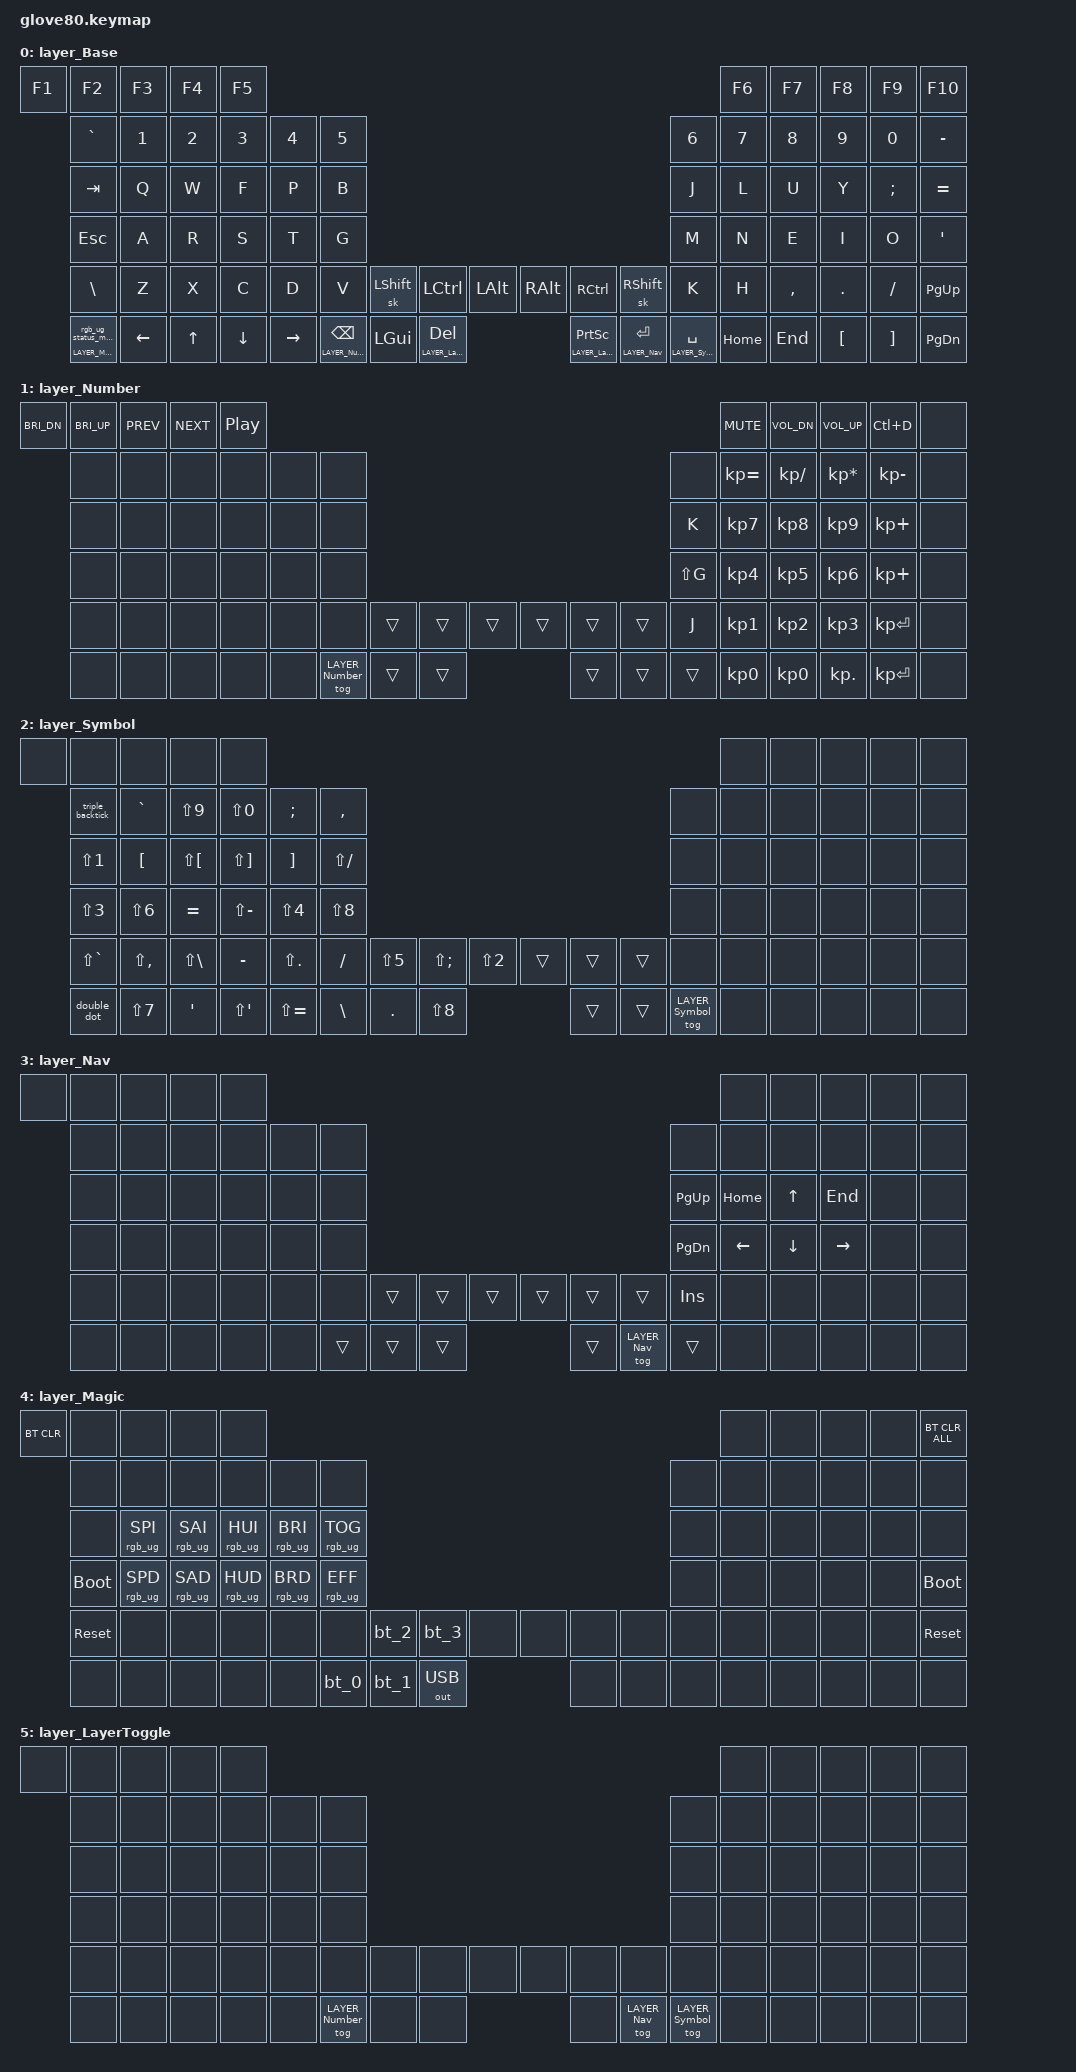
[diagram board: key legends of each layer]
/*
 * Copyright (c) 2020 The ZMK Contributors
 * Copyright (c) 2025 Innaworks Development Limited, trading as MoErgo
 *
 * SPDX-License-Identifier: MIT
 */


/* THIS FILE WAS GENERATED BY GLOVE80 LAYOUT EDITOR
 *
 * This file was generated automatically. You may or may not want to
 * edit it directly.
 */

#include <behaviors.dtsi>
/* Include all behavior includes needed */
#include <dt-bindings/zmk/outputs.h>
#include <dt-bindings/zmk/keys.h>
#include <dt-bindings/zmk/bt.h>
#include <dt-bindings/zmk/rgb.h>

/* On demand includes */


/* Helper Macros, based on https://github.com/urob/zmk-helpers/ */

#pragma once

#define ZMK_HELPER_STRINGIFY(x) #x

// Preprocessor mechanism to overload macros, cf. https://stackoverflow.com/a/27051616/6114651
#define VARGS_(_10, _9, _8, _7, _6, _5, _4, _3, _2, _1, N, ...) N
#define VARGS(...) VARGS_(__VA_ARGS__, 10, 9, 8, 7, 6, 5, 4, 3, 2, 1, 0)
#define CONCAT_(a, b) a##b
#define CONCAT(a, b) CONCAT_(a, b)

#define ZMK_BEHAVIOR_CORE_tap_dance  \
    compatible = "zmk,behavior-tap-dance"; \
    #binding-cells = <0>

#define ZMK_BEHAVIOR(name, type, ...) \
    name: name { \
        ZMK_BEHAVIOR_CORE_ ## type; \
        __VA_ARGS__ \
    };

#define ZMK_TAP_DANCE(name, ...) \
    ZMK_BEHAVIOR(name, tap_dance, __VA_ARGS__)

#define ZMK_TD_LAYER(name, layer) \
    ZMK_TAP_DANCE(name, \
        tapping-term-ms = <200>; \
        bindings = <&mo layer>, <&to layer>; \
)

/* Environment and metadata defines */
#define KB_TYPE_GLOVE_80 1
#define KB_TYPE_GO_60    2

#define KB_TYPE          KB_TYPE_GLOVE_80
#define EDITOR_HOST_OS   'L'

/* Automatically generated layer name defines */
#define LAYER_Base 0
#define LAYER_Number 1
#define LAYER_Symbol 2
#define LAYER_Nav 3
#define LAYER_Magic 4
#define LAYER_LayerToggle 5

/* To deal with the situation where there is no Lower layer, to keep &lower happy */
#ifndef LAYER_Lower
#define LAYER_Lower 0
#endif

/* Custom Device-tree */


/* Input Listeners */


/* System behavior and Macros */
/ {
    behaviors {
        ZMK_TD_LAYER(lower, LAYER_Lower)
    };
};

/ {
    macros {
        rgb_ug_status_macro: rgb_ug_status_macro {
            label = "RGB_UG_STATUS";
            compatible = "zmk,behavior-macro";
            #binding-cells = <0>;
            bindings
                = <&rgb_ug RGB_STATUS>;
        };
    };
};


/ {
#ifdef BT_DISC_CMD
    behaviors {
        bt_0: bt_0 {
            compatible = "zmk,behavior-tap-dance";
            label = "BT_0";
            #binding-cells = <0>;
            tapping-term-ms = <200>;
            bindings = <&bt_select_0>, <&bt BT_DISC 0>;
        };
        bt_1: bt_1 {
            compatible = "zmk,behavior-tap-dance";
            label = "BT_1";
            #binding-cells = <0>;
            tapping-term-ms = <200>;
            bindings = <&bt_select_1>, <&bt BT_DISC 1>;
        };
        bt_2: bt_2 {
            compatible = "zmk,behavior-tap-dance";
            label = "BT_2";
            #binding-cells = <0>;
            tapping-term-ms = <200>;
            bindings = <&bt_select_2>, <&bt BT_DISC 2>;
        };
        bt_3: bt_3 {
            compatible = "zmk,behavior-tap-dance";
            label = "BT_3";
            #binding-cells = <0>;
            tapping-term-ms = <200>;
            bindings = <&bt_select_3>, <&bt BT_DISC 3>;
        };
    };
    macros {
        bt_select_0: bt_select_0 {
            label = "BT_SELECT_0";
            compatible = "zmk,behavior-macro";
            #binding-cells = <0>;
            bindings
                = <&out OUT_BLE>,
                  <&bt BT_SEL 0>;
        };
        bt_select_1: bt_select_1 {
            label = "BT_SELECT_1";
            compatible = "zmk,behavior-macro";
            #binding-cells = <0>;
            bindings
                = <&out OUT_BLE>,
                  <&bt BT_SEL 1>;
        };
        bt_select_2: bt_select_2 {
            label = "BT_SELECT_2";
            compatible = "zmk,behavior-macro";
            #binding-cells = <0>;
            bindings
                = <&out OUT_BLE>,
                  <&bt BT_SEL 2>;
        };
        bt_select_3: bt_select_3 {
            label = "BT_SELECT_3";
            compatible = "zmk,behavior-macro";
            #binding-cells = <0>;
            bindings
                = <&out OUT_BLE>,
                  <&bt BT_SEL 3>;
        };
    };
#else
    macros {
        bt_0: bt_0 {
            label = "BT_0";
            compatible = "zmk,behavior-macro";
            #binding-cells = <0>;
            bindings
                = <&out OUT_BLE>,
                  <&bt BT_SEL 0>;
        };
        bt_1: bt_1 {
            label = "BT_1";
            compatible = "zmk,behavior-macro";
            #binding-cells = <0>;
            bindings
                = <&out OUT_BLE>,
                  <&bt BT_SEL 1>;
        };
        bt_2: bt_2 {
            label = "BT_2";
            compatible = "zmk,behavior-macro";
            #binding-cells = <0>;
            bindings
                = <&out OUT_BLE>,
                  <&bt BT_SEL 2>;
        };
        bt_3: bt_3 {
            label = "BT_3";
            compatible = "zmk,behavior-macro";
            #binding-cells = <0>;
            bindings
                = <&out OUT_BLE>,
                  <&bt BT_SEL 3>;
        };
    };
#endif
};

/ {
    behaviors {
        magic: magic {
            compatible = "zmk,behavior-hold-tap";
            label = "MAGIC_HOLD_TAP";
            #binding-cells = <2>;
            flavor = "tap-preferred";
            tapping-term-ms = <200>;
            bindings = <&mo>, <&rgb_ug_status_macro>;
        };
    };
};


/* Key positions */

#define POS_LH_C6R1 0
#define POS_LH_C5R1 1
#define POS_LH_C4R1 2
#define POS_LH_C3R1 3
#define POS_LH_C2R1 4
#define POS_RH_C2R1 5
#define POS_RH_C3R1 6
#define POS_RH_C4R1 7
#define POS_RH_C5R1 8
#define POS_RH_C6R1 9
#define POS_LH_C6R2 10
#define POS_LH_C5R2 11
#define POS_LH_C4R2 12
#define POS_LH_C3R2 13
#define POS_LH_C2R2 14
#define POS_LH_C1R2 15
#define POS_RH_C1R2 16
#define POS_RH_C2R2 17
#define POS_RH_C3R2 18
#define POS_RH_C4R2 19
#define POS_RH_C5R2 20
#define POS_RH_C6R2 21
#define POS_LH_C6R3 22
#define POS_LH_C5R3 23
#define POS_LH_C4R3 24
#define POS_LH_C3R3 25
#define POS_LH_C2R3 26
#define POS_LH_C1R3 27
#define POS_RH_C1R3 28
#define POS_RH_C2R3 29
#define POS_RH_C3R3 30
#define POS_RH_C4R3 31
#define POS_RH_C5R3 32
#define POS_RH_C6R3 33
#define POS_LH_C6R4 34
#define POS_LH_C5R4 35
#define POS_LH_C4R4 36
#define POS_LH_C3R4 37
#define POS_LH_C2R4 38
#define POS_LH_C1R4 39
#define POS_RH_C1R4 40
#define POS_RH_C2R4 41
#define POS_RH_C3R4 42
#define POS_RH_C4R4 43
#define POS_RH_C5R4 44
#define POS_RH_C6R4 45
#define POS_LH_C6R5 46
#define POS_LH_C5R5 47
#define POS_LH_C4R5 48
#define POS_LH_C3R5 49
#define POS_LH_C2R5 50
#define POS_LH_C1R5 51
#define POS_LH_T1 52
#define POS_LH_T2 53
#define POS_LH_T3 54
#define POS_RH_T3 55
#define POS_RH_T2 56
#define POS_RH_T1 57
#define POS_RH_C1R5 58
#define POS_RH_C2R5 59
#define POS_RH_C3R5 60
#define POS_RH_C4R5 61
#define POS_RH_C5R5 62
#define POS_RH_C6R5 63
#define POS_LH_C6R6 64
#define POS_LH_C5R6 65
#define POS_LH_C4R6 66
#define POS_LH_C3R6 67
#define POS_LH_C2R6 68
#define POS_LH_T4 69
#define POS_LH_T5 70
#define POS_LH_T6 71
#define POS_RH_T6 72
#define POS_RH_T5 73
#define POS_RH_T4 74
#define POS_RH_C2R6 75
#define POS_RH_C3R6 76
#define POS_RH_C4R6 77
#define POS_RH_C5R6 78
#define POS_RH_C6R6 79


/* Custom Defined Behaviors */
/ {

};

/* Generated input processors */


/* Automatically generated macro definitions */
/ {
    macros {

        triple_backtick: triple_backtick {
            label = "&TRIPLE_BACKTICK";
            compatible = "zmk,behavior-macro";
            #binding-cells = <0>;
            tap-ms = <0>;
            wait-ms = <0>;
            bindings = <&macro_tap>
                , <&kp GRAVE>
                , <&kp GRAVE>
                , <&kp GRAVE>;
        };

        double_dot: double_dot {
            label = "&DOUBLE_DOT";
            compatible = "zmk,behavior-macro";
            #binding-cells = <0>;
            tap-ms = <0>;
            wait-ms = <0>;
            bindings = <&macro_tap>
                , <&kp DOT>
                , <&kp DOT>;
        };
    };
};

/* Automatically generated behavior definitions */
/ {
    behaviors {


    };
};

/* Automatically generated combos definitions */
/ {
    combos {
        compatible = "zmk,combos";

        // F11
        combo_combo_f11 {
            timeout-ms = <50>;
            key-positions = <POS_RH_C5R1 POS_RH_C5R2>;
            bindings = <&kp F11>;
            layers = <LAYER_Base>;
        };

        // F12
        combo_combo_f12 {
            timeout-ms = <50>;
            key-positions = <POS_RH_C6R1 POS_RH_C6R2>;
            bindings = <&kp F12>;
            layers = <LAYER_Base>;
        };

        // Capsword
        combo_combo_capsword {
            timeout-ms = <50>;
            key-positions = <POS_LH_T1 POS_RH_T1>;
            bindings = <&caps_word>;
            layers = <LAYER_Base>;
        };

        // Kill word backward
        combo_combo_killwordbackward {
            timeout-ms = <50>;
            key-positions = <POS_LH_T4 POS_LH_T1>;
            bindings = <&kp LC(BSPC)>;
            layers = <LAYER_Base>;
        };
    };
};

/* Automatically generated keymap */
/ {
    keymap {
        compatible = "zmk,keymap";


        layer_Base {
            bindings = <
               &kp F1    &kp F2  &kp F3    &kp F4     &kp F5                                                                                                                                                         &kp F6     &kp F7    &kp F8    &kp F9    &kp F10
            &kp GRAVE    &kp N1  &kp N2    &kp N3     &kp N4  &kp N5                                                                                                                                       &kp N6    &kp N7     &kp N8    &kp N9    &kp N0  &kp MINUS
              &kp TAB     &kp Q   &kp W     &kp F      &kp P   &kp B                                                                                                                                        &kp J     &kp L      &kp U     &kp Y  &kp SEMI  &kp EQUAL
              &kp ESC     &kp A   &kp R     &kp S      &kp T   &kp G                                                                                                                                        &kp M     &kp N      &kp E     &kp I     &kp O    &kp SQT
             &kp BSLH     &kp Z   &kp X     &kp C      &kp D   &kp V              &sk LSHFT  &kp LCTRL                   &kp LALT                     &kp RALT          &kp RCTRL               &sk RSHFT   &kp K     &kp H  &kp COMMA   &kp DOT  &kp FSLH  &kp PG_UP
 &magic LAYER_Magic 0  &kp LEFT  &kp UP  &kp DOWN  &kp RIGHT          &lt LAYER_Number BSPC   &kp LGUI  &lt LAYER_LayerToggle DEL  &lt LAYER_LayerToggle PSCRN  &lt LAYER_Nav RET  &lt LAYER_Symbol SPACE          &kp HOME    &kp END  &kp LBKT  &kp RBKT  &kp PG_DN
            >;
        };

        layer_Number {
            bindings = <
 &kp C_BRI_DN  &kp C_BRI_UP  &kp C_PREV  &kp C_NEXT  &kp C_PP                                                                                  &kp C_MUTE  &kp C_VOL_DN     &kp C_VOL_UP     &kp LC(D)   &none
        &none         &none       &none       &none     &none   &none                                                                 &none  &kp KP_EQUAL  &kp KP_SLASH  &kp KP_MULTIPLY  &kp KP_MINUS   &none
        &none         &none       &none       &none     &none   &none                                                                 &kp K     &kp KP_N7     &kp KP_N8        &kp KP_N9   &kp KP_PLUS   &none
        &none         &none       &none       &none     &none   &none                                                             &kp LS(G)     &kp KP_N4     &kp KP_N5        &kp KP_N6   &kp KP_PLUS   &none
        &none         &none       &none       &none     &none   &none             &trans  &trans  &trans  &trans  &trans  &trans      &kp J     &kp KP_N1     &kp KP_N2        &kp KP_N3  &kp KP_ENTER   &none
        &none         &none       &none       &none     &none          &tog LAYER_Number  &trans  &trans  &trans  &trans  &trans                &kp KP_N0     &kp KP_N0       &kp KP_DOT  &kp KP_ENTER   &none
            >;
        };

        layer_Symbol {
            bindings = <
            &none          &none         &none          &none          &none                                                                                                  &none   &none   &none   &none   &none
 &triple_backtick      &kp GRAVE    &kp LS(N9)     &kp LS(N0)       &kp SEMI     &kp COMMA                                                                            &none   &none   &none   &none   &none   &none
       &kp LS(N1)       &kp LBKT  &kp LS(LBKT)   &kp LS(RBKT)       &kp RBKT  &kp LS(FSLH)                                                                            &none   &none   &none   &none   &none   &none
       &kp LS(N3)     &kp LS(N6)     &kp EQUAL  &kp LS(MINUS)     &kp LS(N4)    &kp LS(N8)                                                                            &none   &none   &none   &none   &none   &none
    &kp LS(GRAVE)  &kp LS(COMMA)  &kp LS(BSLH)      &kp MINUS    &kp LS(DOT)      &kp FSLH  &kp LS(N5)  &kp LS(SEMI)  &kp LS(N2)  &trans  &trans             &trans   &none   &none   &none   &none   &none   &none
      &double_dot     &kp LS(N7)       &kp SQT    &kp LS(SQT)  &kp LS(EQUAL)                  &kp BSLH       &kp DOT  &kp LS(N8)  &trans  &trans  &tog LAYER_Symbol           &none   &none   &none   &none   &none
            >;
        };

        layer_Nav {
            bindings = <
  &none   &none   &none   &none   &none                                                                                &none     &none      &none   &none   &none
  &none   &none   &none   &none   &none   &none                                                              &none     &none     &none      &none   &none   &none
  &none   &none   &none   &none   &none   &none                                                          &kp PG_UP  &kp HOME    &kp UP    &kp END   &none   &none
  &none   &none   &none   &none   &none   &none                                                          &kp PG_DN  &kp LEFT  &kp DOWN  &kp RIGHT   &none   &none
  &none   &none   &none   &none   &none   &none  &trans  &trans  &trans  &trans          &trans  &trans    &kp INS     &none     &none      &none   &none   &none
  &none   &none   &none   &none   &none          &trans  &trans  &trans  &trans  &tog LAYER_Nav  &trans                &none     &none      &none   &none   &none
            >;
        };

        layer_Magic {
            bindings = <
  &bt BT_CLR            &none            &none            &none            &none                                                                                  &none   &none   &none   &none  &bt BT_CLR_ALL
       &none            &none            &none            &none            &none            &none                                                         &none   &none   &none   &none   &none           &none
       &none  &rgb_ug RGB_SPI  &rgb_ug RGB_SAI  &rgb_ug RGB_HUI  &rgb_ug RGB_BRI  &rgb_ug RGB_TOG                                                         &none   &none   &none   &none   &none           &none
 &bootloader  &rgb_ug RGB_SPD  &rgb_ug RGB_SAD  &rgb_ug RGB_HUD  &rgb_ug RGB_BRD  &rgb_ug RGB_EFF                                                         &none   &none   &none   &none   &none     &bootloader
  &sys_reset            &none            &none            &none            &none            &none   &bt_2   &bt_3         &none   &none   &none   &none   &none   &none   &none   &none   &none      &sys_reset
       &none            &none            &none            &none            &none                    &bt_0   &bt_1  &out OUT_USB   &none   &none   &none           &none   &none   &none   &none           &none
            >;
        };

        layer_LayerToggle {
            bindings = <
  &none   &none   &none   &none   &none                                                                                                 &none   &none   &none   &none   &none
  &none   &none   &none   &none   &none   &none                                                                                 &none   &none   &none   &none   &none   &none
  &none   &none   &none   &none   &none   &none                                                                                 &none   &none   &none   &none   &none   &none
  &none   &none   &none   &none   &none   &none                                                                                 &none   &none   &none   &none   &none   &none
  &none   &none   &none   &none   &none   &none              &none   &none   &none   &none           &none              &none   &none   &none   &none   &none   &none   &none
  &none   &none   &none   &none   &none          &tog LAYER_Number   &none   &none   &none  &tog LAYER_Nav  &tog LAYER_Symbol           &none   &none   &none   &none   &none
            >;
        };

    };
};
